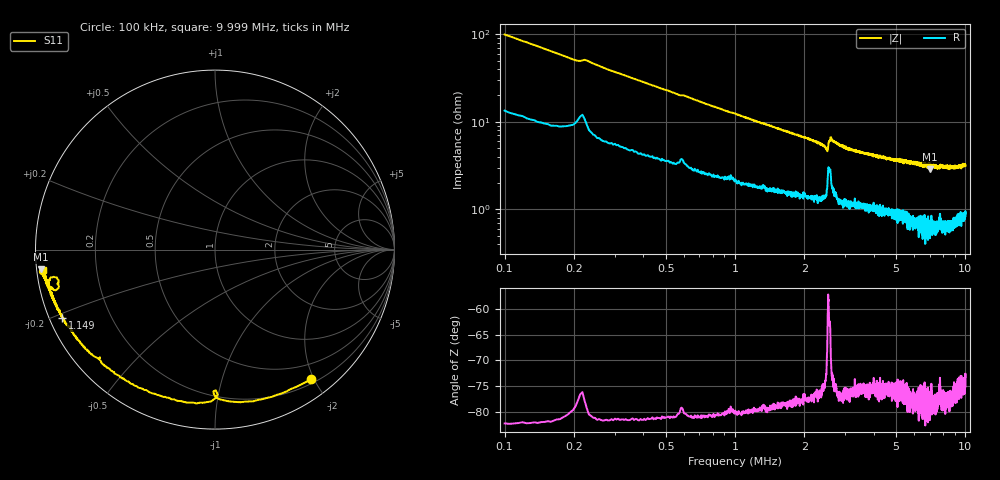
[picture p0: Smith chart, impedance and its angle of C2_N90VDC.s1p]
# HZ S RI R 50
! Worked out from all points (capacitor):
!   2020 points, 100 kHz to 9.999 MHz, reference 50 ohm
!   read as one part to ground: C = 14.8 nF near 149 kHz
!   lowest |Z| = 2.87 ohm at 7.038 MHz (marker M1)
!   S11 on the Smith chart (normalised r, x): 100 kHz: 0.27, -1.96; 1.149 MHz: 0.04, -0.21; 9.999 MHz: 0.02, -0.06
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100000  0.5362 -0.7186
124515  0.3984 -0.7905
153933  0.2373 -0.8379
198060  0.0241 -0.8336
232381  -0.0224 -0.8464
291217  -0.2286 -0.834
325538  -0.3133 -0.8108
364762  -0.3948 -0.7823
453016  -0.5289 -0.7108
536367  -0.6171 -0.6462
742293  -0.7418 -0.5272
933510  -0.8014 -0.447
1149242  -0.8501 -0.3805
1340459  -0.8698 -0.3406
1771923  -0.9037 -0.265
2335768  -0.9252 -0.2043
2463246  -0.9269 -0.1849
2507373  -0.9206 -0.1614
2576015  -0.873 -0.1923
2644657  -0.9084 -0.2191
2850583  -0.9322 -0.1968
3816474  -0.9496 -0.1566
5052030  -0.9527 -0.1341
6287586  -0.9671 -0.1203
7037745  -0.9712 -0.1096
7528045  -0.968 -0.1163
8763601  -0.9668 -0.1148
9999157  -0.9576 -0.1157
